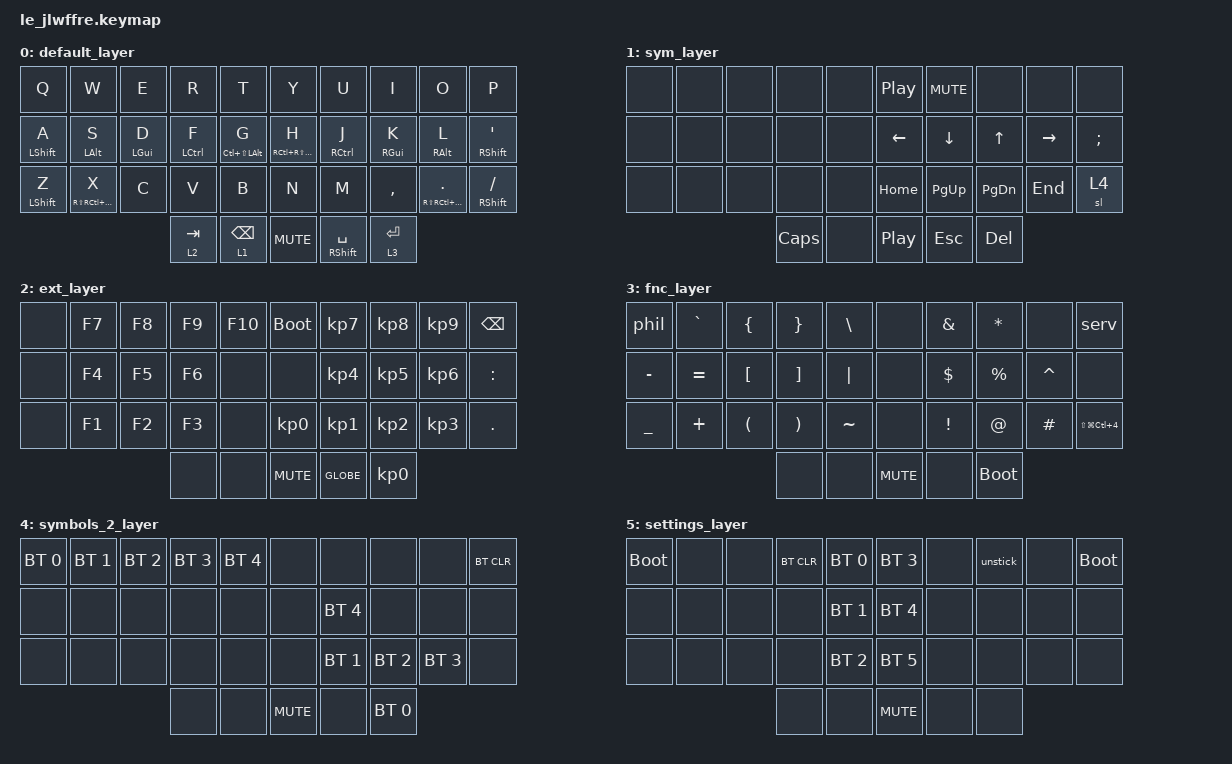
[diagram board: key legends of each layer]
/*
 * Copyright (c) 2022 The ZMK Contributors
 *
 * SPDX-License-Identifier: MIT
 */

#include <behaviors.dtsi>
#include <dt-bindings/zmk/keys.h>
#include <dt-bindings/zmk/bt.h>
#include <dt-bindings/zmk/outputs.h>

#define BASE 0
#define SYM 1
#define EXT 2
#define FNC 3
#define SYM2 4
#define ACCENT 5
#define SETTINGS 6

&sk {
    // don't release mods on other mods presses

    ignore-modifiers;
};

/ {
    behaviors {
        qt: quick_tap {
            compatible = "zmk,behavior-hold-tap";
            #binding-cells = <2>;
            flavor = "tap-preferred";
            require-prior-idle-ms = <50>;
            tapping-term-ms = <200>;
            quick-tap-ms = <200>;
            bindings = <&kp>, <&kp>;
        };

        macros {
            // sometimes my device thinks a modifier is being held down
            // pressing all modifiers fixes it.

            unstick: unstick {
                compatible = "zmk,behavior-macro";
                #binding-cells = <0>;
                bindings = <&kp LSHIFT &kp RSHIFT &kp LCTRL &kp RCTRL &kp LALT &kp RALT &kp LGUI &kp RGUI>;
            };

            phil: phil {
                compatible = "zmk,behavior-macro";
                #binding-cells = <0>;
                bindings = <&kp D &kp O &kp I &kp N &kp K &kp N4 &kp N2 &kp RET>;
            };

            serv: serv {
                compatible = "zmk,behavior-macro";
                #binding-cells = <0>;
                bindings = <&kp LS(L) &kp I &kp N &kp K &kp N8 &kp LS(S) &kp E &kp R &kp V &kp I &kp C &kp E &kp RET>;
            };
        };

        combos {
            compatible = "zmk,combos";
            combo_esc {
                timeout-ms = <50>;
                key-positions = <0 1>;
                bindings = <&kp ESC>;
            };
            combo_del {
                timeout-ms = <50>;
                key-positions = <8 9>;
                bindings = <&kp DEL>;
            };
            combo_reset {
                timeout-ms = <50>;
                key-positions = <0 9>;
                layers = <2>;
                bindings = <&sys_reset>;
            };
            combo_boot {
                timeout-ms = <50>;
                key-positions = <5 20>;
                layers = <2>;
                bindings = <&bootloader>;
            };
            combo_slash {
                key-positions = <26 27>;
                bindings = <&kp SLASH>;
            };
            combo_ques {
                key-positions = <27 28>;
                bindings = <&kp QMARK>;
            };
        };
    };

    keymap {
        compatible = "zmk,keymap";

        default_layer {
            bindings = <
&kp Q  &kp W  &kp E  &kp R  &kp T  &kp Y   &kp U  &kp I  &kp O  &kp P
&qt LEFT_SHIFT A    &qt LEFT_ALT S    &qt LEFT_GUI D    &qt LEFT_CONTROL F    &qt LC(LS(LALT)) G &qt RC(RS(RALT)) H          &qt RIGHT_CONTROL J    &qt RIGHT_GUI K    &qt RIGHT_ALT L    &qt RIGHT_SHIFT SINGLE_QUOTE
&qt LEFT_SHIFT Z    &qt RS(RC(RA(RGUI))) X             &kp C             &kp V                 &kp B              &kp N          &kp M        &kp COMMA          &qt RS(RC(RA(RGUI))) DOT            &qt RIGHT_SHIFT SLASH
                                      &lt 2 TAB             &lt 1 BACKSPACE  &kp K_MUTE &qt RIGHT_SHIFT SPACE    &lt 3 ENTER            >;
        };

        // Numbers and high frequency symbols

        sym_layer {
            bindings = <
&none           &none          &none          &none          &none          &kp C_PLAY_PAUSE    &kp C_MUTE     &none            &none        &none
&none           &none          &none          &none          &none          &kp LEFT            &kp DOWN       &kp UP           &kp RIGHT    &kp SEMICOLON
&none           &none          &none          &none          &none          &kp HOME            &kp PAGE_UP    &kp PAGE_DOWN    &kp END      &sl 4
                                         &kp CAPSLOCK          &none     &kp C_PP     &kp ESCAPE          &kp DEL          
            >;
        };

        // Main modifiers and arrow keys

        ext_layer {
            bindings = <
&none    &kp F7    &kp F8    &kp F9    &kp F10      &bootloader     &kp KP_N7    &kp KP_N8    &kp KP_N9    &kp BACKSPACE
&none    &kp F4    &kp F5    &kp F6    &none        &none           &kp KP_N4    &kp KP_N5    &kp KP_N6    &kp COLON
&none    &kp F1    &kp F2    &kp F3    &none        &kp KP_N0       &kp KP_N1    &kp KP_N2    &kp KP_N3    &kp DOT
                             &none &none  &kp K_MUTE  &kp GLOBE    &kp KP_N0               
            >;
        };

        // Function keys with modifiers

        fnc_layer {
            bindings = <
&phil    &kp GRAVE     &kp LEFT_BRACE          &kp RIGHT_BRACE          &kp BACKSLASH    &none    &kp AMPS      &kp ASTERISK    &none        &serv
&kp MINUS    &kp EQUAL    &kp LEFT_BRACKET        &kp RIGHT_BRACKET        &kp PIPE         &none    &kp DOLLAR    &kp PERCENT     &kp CARET    &none
&kp UNDER        &kp PLUS    &kp LEFT_PARENTHESIS    &kp RIGHT_PARENTHESIS    &kp TILDE        &none    &kp EXCL      &kp AT          &kp HASH     &kp LS(LG(LC(NUMBER_4)))
                             &none          &none      &kp K_MUTE              &none            &bootloader          
            >;
        };

        // Low frequency symbols.

        symbols_2_layer {
            bindings = <
&bt BT_SEL 0    &bt BT_SEL 1   &bt BT_SEL 2   &bt BT_SEL 3   &bt BT_SEL 4          &none    &none           &none           &none           &bt BT_CLR
&none           &none          &none          &none          &none          &none    &bt BT_SEL 4    &none           &none           &none
&none           &none          &none          &none          &none          &none    &bt BT_SEL 1    &bt BT_SEL 2    &bt BT_SEL 3    &none
                                      &none          &none    &kp K_MUTE      &none    &bt BT_SEL 0          
            >;
        };

        // Used to change the keyboard's settings.

        settings_layer {
            bindings = <
&bootloader    &none    &none    &bt BT_CLR    &bt BT_SEL 0    &bt BT_SEL 3    &none    &unstick    &none    &bootloader
&none          &none    &none    &none         &bt BT_SEL 1    &bt BT_SEL 4    &none    &none       &none    &none
&none          &none    &none    &none         &bt BT_SEL 2    &bt BT_SEL 5    &none    &none       &none    &none
                                 &none         &none       &kp K_MUTE    &none           &none
            >;
        };
    };
};
